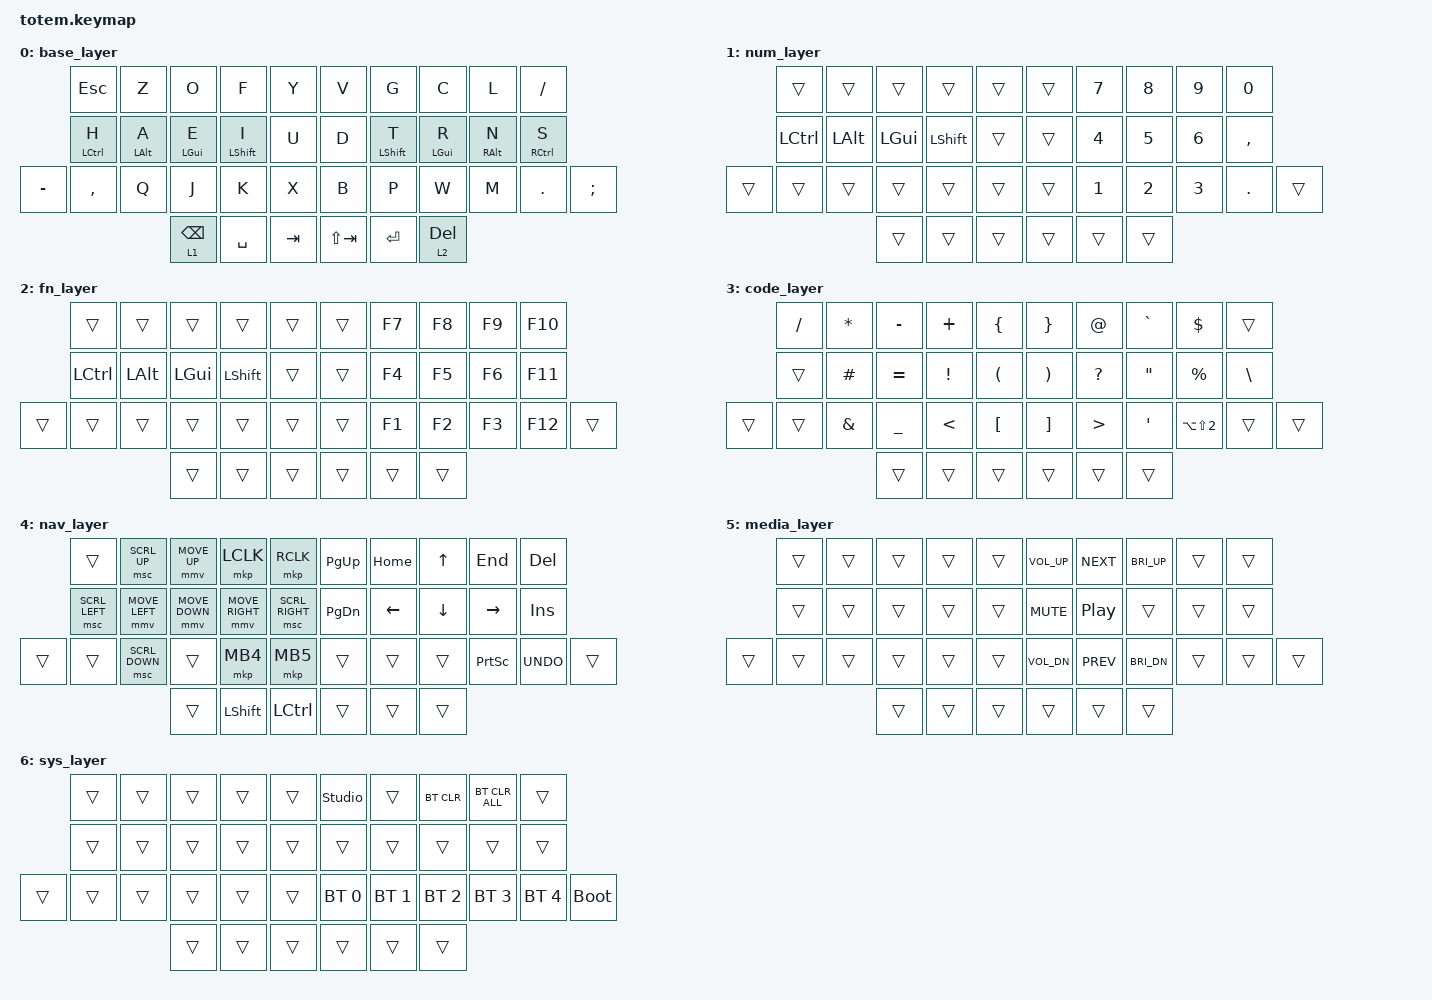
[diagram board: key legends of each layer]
#include <dt-bindings/zmk/mouse.h>
#include <behaviors.dtsi>
#include <dt-bindings/zmk/bt.h>
#include <dt-bindings/zmk/keys.h>
#include <dt-bindings/zmk/pointing.h>

#define BASE 0
#define CODE 1
#define NAV  2
#define MOD  3
#define ADJ  4

/ {
    behaviors {
        hml: homerow_mods_left {
            compatible = "zmk,behavior-hold-tap";
            #binding-cells = <2>;
            tapping-term-ms = <200>;
            quick-tap-ms = <175>;
            require-prior-idle-ms = <300>;
            flavor = "balanced";
            bindings = <&kp>, <&kp>;
        };

        hmr: homerow_mods_right {
            compatible = "zmk,behavior-hold-tap";
            #binding-cells = <2>;
            tapping-term-ms = <200>;
            quick-tap-ms = <175>;
            require-prior-idle-ms = <300>;
            flavor = "balanced";
            bindings = <&kp>, <&kp>;
        };

        td_bs_pipe: backslash_pipe {
            compatible = "zmk,behavior-hold-tap";
            #binding-cells = <2>;
            tapping-term-ms = <200>;
            flavor = "tap-preferred";
            bindings = <&kp>, <&kp>;
        };
    };

    combos {
        compatible = "zmk,combos";

        lock_screen {
            bindings = <&kp LG(LC(Q))>;
            key-positions = <20 31>;
        };

        undo {
            bindings = <&kp LG(Z)>;
            key-positions = <0 9>;
        };

        hypr {
            bindings = <&sk LA(LS(LG(LCTRL)))>;
            key-positions = <5 4>;
        };

        minus {
            bindings = <&kp MINUS>;
            key-positions = <25 26>;
        };

        underscore {
            bindings = <&kp UNDERSCORE>;
            key-positions = <24 27>;
        };

        caps {
            bindings = <&kp CAPSLOCK>;
            key-positions = <21 30>;
        };
    };

    keymap {
        compatible = "zmk,keymap";

        base_layer {
            bindings = <
           &kp ESCAPE    &kp Z            &kp O            &kp F              &kp Y      &kp V        &kp G              &kp C            &kp L        &kp SLASH
           &hml LCTRL H  &hml LEFT_ALT A  &hml LEFT_GUI E  &hml LEFT_SHIFT I  &kp U      &kp D        &hmr LEFT_SHIFT T  &hmr LEFT_GUI R  &hmr RALT N  &hmr RCTRL S
&kp MINUS  &kp COMMA     &kp Q            &kp J            &kp K              &kp X      &kp B        &kp P              &kp W            &kp M        &kp PERIOD    &kp SEMI
                                          &lt 1 BACKSPACE  &kp SPACE          &kp TAB    &kp LS(TAB)  &kp ENTER          &lt 2 DELETE
            >;
        };

        num_layer {
            bindings = <
        &trans    &trans        &trans        &trans          &trans    &trans  &kp N7  &kp N8  &kp N9  &kp N0
        &kp LCTRL &kp LEFT_ALT  &kp LEFT_GUI  &kp LEFT_SHIFT  &trans    &trans  &kp N4  &kp N5  &kp N6  &kp COMMA
&trans  &trans    &trans        &trans        &trans          &trans    &trans  &kp N1  &kp N2  &kp N3  &kp PERIOD  &trans
                                &trans        &trans          &trans    &trans  &trans  &trans
            >;
        };

        fn_layer {
            bindings = <
        &trans    &trans        &trans        &trans          &trans    &trans  &kp F7  &kp F8  &kp F9  &kp F10
        &kp LCTRL &kp LEFT_ALT  &kp LEFT_GUI  &kp LEFT_SHIFT  &trans    &trans  &kp F4  &kp F5  &kp F6  &kp F11
&trans  &trans    &trans        &trans        &trans          &trans    &trans  &kp F1  &kp F2  &kp F3  &kp F12  &trans
                                &trans        &trans          &trans    &trans  &trans  &trans 
            >;
        };

        code_layer {
            bindings = <
        &kp FSLH  &kp STAR       &kp MINUS       &kp PLUS         &kp LEFT_BRACE          &kp RIGHT_BRACE        &kp AT_SIGN       &kp GRAVE          &kp DOLLAR            &trans
        &trans    &kp HASH       &kp EQUAL       &kp EXCLAMATION  &kp LEFT_PARENTHESIS    &kp RIGHT_PARENTHESIS  &kp QUESTION      &kp DOUBLE_QUOTES  &kp PERCENT           &kp BACKSLASH
&trans  &trans    &kp AMPERSAND  &kp UNDERSCORE  &kp LESS_THAN    &kp LBKT                &kp RBKT               &kp GREATER_THAN  &kp SINGLE_QUOTE   &kp LA(LS(NUMBER_2))  &trans         &trans
                                 &trans          &trans           &trans                  &trans                 &trans            &trans
            >;
        };

        nav_layer {
            bindings = <
        &trans          &msc SCRL_UP    &mmv MOVE_UP    &mkp LCLK        &mkp RCLK          &kp PG_UP  &kp HOME  &kp UP    &kp END    &kp DEL
        &msc SCRL_LEFT  &mmv MOVE_LEFT  &mmv MOVE_DOWN  &mmv MOVE_RIGHT  &msc SCRL_RIGHT    &kp PG_DN  &kp LEFT  &kp DOWN  &kp RIGHT  &kp INS
&trans  &trans          &msc SCRL_DOWN  &trans          &mkp MB4         &mkp MB5           &trans     &trans    &trans    &kp PSCRN  &kp K_UNDO  &trans
                                        &trans          &kp LSHFT        &kp LCTRL          &trans     &trans    &trans
            >;
        };

        media_layer {
            bindings = <
        &trans  &trans  &trans  &trans  &trans    &kp C_VOL_UP  &kp C_NEXT  &kp C_BRI_UP  &trans  &trans
        &trans  &trans  &trans  &trans  &trans    &kp C_MUTE    &kp C_PP    &trans        &trans  &trans
&trans  &trans  &trans  &trans  &trans  &trans    &kp C_VOL_DN  &kp C_PREV  &kp C_BRI_DN  &trans  &trans  &trans
                        &trans  &trans  &trans    &trans        &trans      &trans
            >;
        };

        sys_layer {
            bindings = <
        &trans  &trans  &trans  &trans  &trans    &studio_unlock  &trans        &bt BT_CLR    &bt BT_CLR_ALL  &trans
        &trans  &trans  &trans  &trans  &trans    &trans          &trans        &trans        &trans          &trans
&trans  &trans  &trans  &trans  &trans  &trans    &bt BT_SEL 0    &bt BT_SEL 1  &bt BT_SEL 2  &bt BT_SEL 3    &bt BT_SEL 4  &bootloader
                        &trans  &trans  &trans    &trans          &trans        &trans
            >;
        };
    };
};

&sk {
    release-after-ms = <2000>;
    quick-release;
};
